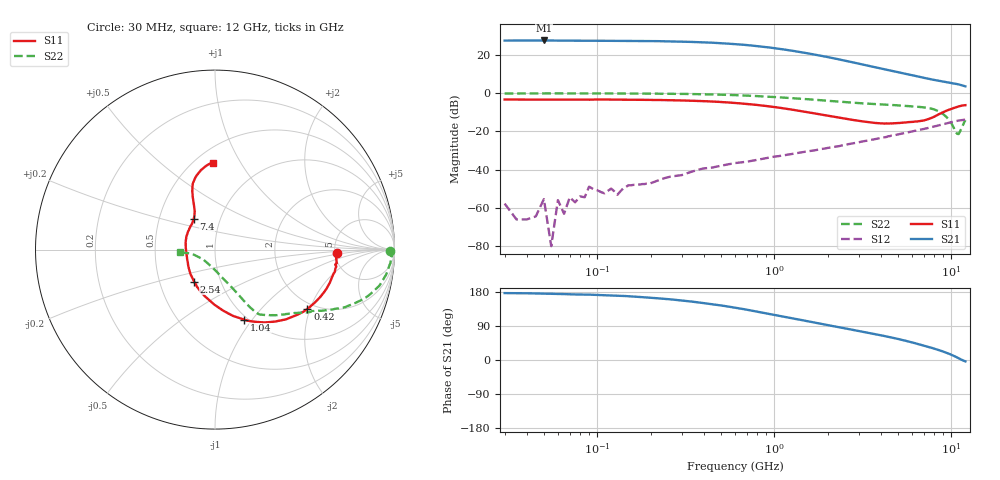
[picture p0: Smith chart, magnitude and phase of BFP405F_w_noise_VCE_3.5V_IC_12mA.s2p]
! Infineon Technologies  Discrete & RF Semiconductors
! BFP405F
! VCE =  3.5 V,  IC =  12 mA
! Common Emitter S-Parameters:  Nov 2015
# GHz  S  MA  R  50
!  f  S11  S21  S12  S22
! GHz  MAG  ANG  MAG  ANG  MAG  ANG  MAG  ANG
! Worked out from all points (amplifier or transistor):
!   239 points, 30 MHz to 12 GHz, reference 50 ohm
!   highest |S21| = 27.5 dB at 50 MHz (marker M1)
!   |S21| within 3 dB of that: start of sweep to 807.8 MHz
!   unconditionally stable (mu >= 1): 42.67 MHz to 46.53 MHz; 53.2 MHz to 55.51 MHz; 2.177 GHz to end of sweep
!   at 300 MHz: K = 0.20, MSG = 34.9 dB, |S12| = -42.9 dB
!   at 1.88 GHz: K = 0.92, MSG = 24.2 dB, |S12| = -29.1 dB
!   at 12 GHz: K = 1.38, MAG = 5.0 dB, |S12| = -13.8 dB
!   lowest NFmin = 1.80 dB at 450 MHz
!   S11 on the Smith chart (normalised r, x): 30 MHz: 5.23, -0.42; 420 MHz: 1.82, -1.92; 1.04 GHz: 0.96, -0.91; 2.54 GHz: 0.75, -0.28; 7.4 GHz: 0.75, +0.27; 12 GHz: 0.61, +0.77
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0.03  0.6806 -1.8  23.68 176.5  0.0013 101.9  0.9771 -0.4
0.04  0.6779 -2.9  23.66 176.1  0.0005 -128.3  0.9779 -0.8
0.05  0.678 -4.3  23.82 175.0  0.0017 29.4  0.9871 -1.1
0.055  0.6776 -4.3  23.7 174.7  0.0001 87.7  0.9857 -1.1
0.06  0.6772 -4.3  23.57 174.4  0.0016 -157.0  0.9844 -1.2
0.065  0.6784 -4.8  23.55 173.9  0.0007 125.0  0.9817 -1.5
0.07  0.6797 -5.2  23.54 173.3  0.0019 69.5  0.979 -1.9
0.085  0.6786 -6.7  23.45 172.6  0.0019 88.7  0.9828 -2.4
0.14  0.6746 -11.3  23.28 169.1  0.0032 90.7  0.9804 -4.3
0.24  0.658 -19.4  22.66 161.4  0.006 81.5  0.9659 -7.8
0.32  0.6388 -25.4  22.03 155.7  0.008 81.4  0.9519 -10.1
0.42  0.6114 -32.6  21.08 148.8  0.011 79.3  0.932 -12.9
0.6  0.5547 -44.5  19.12 137.9  0.0149 73.4  0.8881 -17.1
0.8  0.4909 -55.8  16.95 127.7  0.018 71.8  0.837 -20.8
1.04  0.423 -67.4  14.64 117.8  0.0224 70.6  0.7832 -24.4
1.3  0.3612 -78.7  12.56 108.8  0.0264 70.8  0.7322 -27.1
1.64  0.3019 -91.7  10.43 100.0  0.0314 68.6  0.6788 -30.1
2.54  0.213 -123.3  6.973 83.0  0.0452 67.0  0.5794 -37.5
4.5  0.1615 -177.2  3.909 60.3  0.0755 61.3  0.4936 -47.8
7.4  0.2092 124.4  2.382 34.6  0.1234 50.3  0.4088 -57.4
10.8  0.4375 101.9  1.722 6.4  0.1888 31.4  0.0859 -120.1
12  0.485 91.5  1.504 -3.7  0.2033 24.4  0.1965 -175.9
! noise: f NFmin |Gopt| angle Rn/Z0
0.45  1.8  0.16  4  0.33
0.9  1.81  0.15  8  0.33
1.5  1.86  0.13  12  0.23
1.9  1.91  0.12  19  0.29
2.4  2.04  0.1  26  0.38
3  2.11  0.08  35  0.4
3.5  2.17  0.06  40  0.45
4.5  2.36  0.03  -10  0.19
5.5  2.6  0.12  -85  0.06
